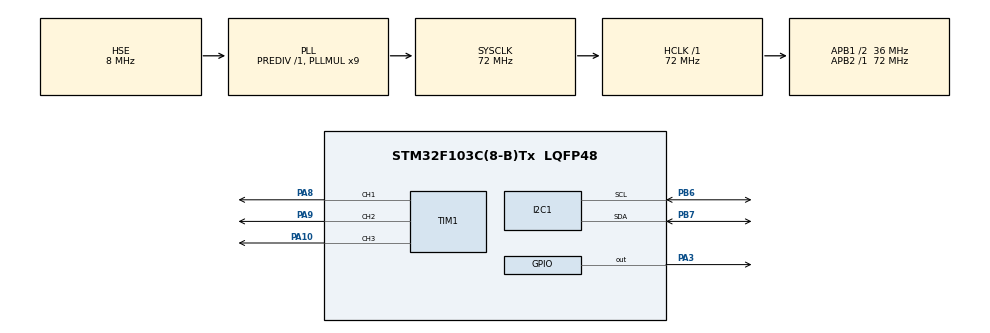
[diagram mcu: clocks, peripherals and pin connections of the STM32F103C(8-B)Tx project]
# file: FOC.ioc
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Mcu.Family=STM32F1
Mcu.Name=STM32F103C(8-B)Tx
Mcu.Package=LQFP48
NVIC.PriorityGroup=NVIC_PRIORITYGROUP_4
PA10.Signal=S_TIM1_CH3
PA13.Mode=Serial_Wire
PA13.Signal=SYS_JTMS-SWDIO
PA14.Mode=Serial_Wire
PA14.Signal=SYS_JTCK-SWCLK
PA3.GPIO_ModeDefaultOutputPP=GPIO_MODE_OUTPUT_PP
PA3.Signal=GPIO_Output
PA8.Signal=S_TIM1_CH1
PA9.Signal=S_TIM1_CH2
PB6.Mode=I2C
PB6.Signal=I2C1_SCL
PB7.Mode=I2C
PB7.Signal=I2C1_SDA
PD0-OSC_IN.Mode=HSE-External-Oscillator
PD0-OSC_IN.Signal=RCC_OSC_IN
PD1-OSC_OUT.Mode=HSE-External-Oscillator
PD1-OSC_OUT.Signal=RCC_OSC_OUT
ProjectManager.HeapSize=0x200
ProjectManager.StackSize=0x400
ProjectManager.TargetToolchain=MDK-ARM V5.32
RCC.AHBFreq_Value=72000000
RCC.APB1CLKDivider=RCC_HCLK_DIV2
RCC.APB1Freq_Value=36000000
RCC.APB1TimFreq_Value=72000000
RCC.APB2Freq_Value=72000000
RCC.APB2TimFreq_Value=72000000
RCC.HCLKFreq_Value=72000000
RCC.PLLMUL=RCC_PLL_MUL9
RCC.PLLSourceVirtual=RCC_PLLSOURCE_HSE
RCC.SYSCLKFreq_VALUE=72000000
RCC.SYSCLKSource=RCC_SYSCLKSOURCE_PLLCLK
RCC.USBFreq_Value=72000000
SH.S_TIM1_CH1.0=TIM1_CH1,Output Compare1 CH1
SH.S_TIM1_CH2.0=TIM1_CH2,Output Compare2 CH2
SH.S_TIM1_CH3.0=TIM1_CH3,Output Compare3 CH3
TIM1.Channel-Output\ Compare1\ CH1=TIM_CHANNEL_1
TIM1.Channel-Output\ Compare2\ CH2=TIM_CHANNEL_2
TIM1.Channel-Output\ Compare3\ CH3=TIM_CHANNEL_3
TIM2.CounterMode=TIM_COUNTERMODE_UP
TIM2.Period=999
TIM2.Prescaler=71
TIM2.TIM_MasterOutputTrigger=TIM_TRGO_UPDATE
TIM2.TIM_MasterSlaveMode=TIM_MASTERSLAVEMODE_ENABLE
VP_TIM2_VS_ClockSourceINT.Mode=Internal
board=custom

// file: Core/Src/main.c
/* USER CODE BEGIN Header */
/**
  ******************************************************************************
  * @file           : main.c
  * @brief          : Main program body
  ******************************************************************************
  * @attention
  *
  * Copyright (c) 2025 STMicroelectronics.
  * All rights reserved.
  *
  * This software is licensed under terms that can be found in the LICENSE file
  * in the root directory of this software component.
  * If no LICENSE file comes with this software, it is provided AS-IS.
  *
  ******************************************************************************
  */
/* USER CODE END Header */
#include "main.h"
#include "i2c.h"
#include "tim.h"
#include "gpio.h"

/* USER CODE BEGIN Includes */
#include "foc.h"
/* USER CODE END Includes */

void SystemClock_Config(void);

/* USER CODE BEGIN 0 */
FOC_OpenLoop_HandleTypeDef motor;
uint32_t last_control_time = 0;
uint32_t last_display_time = 0;

/* USER CODE END 0 */

int main(void)
{

  /* MCU Configuration--------------------------------------------------------*/

  /* Reset of all peripherals, Initializes the Flash interface and the Systick. */
  HAL_Init();

  /* Configure the system clock */
  SystemClock_Config();

  /* Initialize all configured peripherals */
  MX_GPIO_Init();
  MX_I2C1_Init();
  MX_TIM2_Init();
  MX_TIM1_Init();
  /* USER CODE BEGIN 2 */
	HAL_TIM_Base_Start(&htim1);
	HAL_TIM_Base_Start(&htim2);
  /* USER CODE END 2 */

  /* Infinite loop */
  /* USER CODE BEGIN WHILE */

  while (1)
  {
        uint32_t current_time = HAL_GetTick();
        float dt = (current_time - last_control_time) / 1000.0f; // ????

        if (dt >= 0.001f) { // 1ms????
            // ??FOC??
            FOC_OpenLoop_Update(&motor, dt);
            last_control_time = current_time;
        }

        // ?100ms??????
        if (current_time - last_display_time > 100) {
            last_display_time = current_time;

            // ????????????
            // printf("State: %d, Speed: %.1f RPM, Angle: %.2f rad\n",
            //        FOC_OpenLoop_GetState(&motor),
            //        FOC_OpenLoop_GetSpeedRPM(&motor),
            //        FOC_OpenLoop_GetElectricalAngle(&motor));
        }

        // ?????????
        static uint32_t last_speed_change = 0;
        if (current_time - last_speed_change > 3000) { // ?3???????
            last_speed_change = current_time;

            static uint8_t speed_stage = 0;
            switch (speed_stage) {
                case 0:
                    FOC_OpenLoop_SetSpeed(&motor, 800.0f);  // ???800 RPM
                    FOC_OpenLoop_SetCurrent(&motor, 0.5f);  // ????
                    break;
                case 1:
                    FOC_OpenLoop_SetSpeed(&motor, 300.0f);  // ???300 RPM
                    FOC_OpenLoop_SetCurrent(&motor, 0.2f);  // ????
                    break;
                case 2:
                    FOC_OpenLoop_SetSpeed(&motor, 1200.0f); // ???1200 RPM
                    FOC_OpenLoop_SetCurrent(&motor, 0.8f);  // ????
                    break;
                case 3:
                    FOC_OpenLoop_Stop(&motor);              // ??
                    HAL_Delay(1000);
                    FOC_OpenLoop_Start(&motor, 500.0f);     // ????
                    speed_stage = -1; // ????
                    break;
            }
            speed_stage++;
        }

        HAL_Delay(1);
    /* USER CODE END WHILE */

  }
}

void SystemClock_Config(void)
{
  RCC_OscInitTypeDef RCC_OscInitStruct = {0};
  RCC_ClkInitTypeDef RCC_ClkInitStruct = {0};

  /** Initializes the RCC Oscillators according to the specified parameters
  * in the RCC_OscInitTypeDef structure.
  */
  RCC_OscInitStruct.OscillatorType = RCC_OSCILLATORTYPE_HSE;
  RCC_OscInitStruct.HSEState = RCC_HSE_ON;
  RCC_OscInitStruct.HSEPredivValue = RCC_HSE_PREDIV_DIV1;
  RCC_OscInitStruct.HSIState = RCC_HSI_ON;
  RCC_OscInitStruct.PLL.PLLState = RCC_PLL_ON;
  RCC_OscInitStruct.PLL.PLLSource = RCC_PLLSOURCE_HSE;
  RCC_OscInitStruct.PLL.PLLMUL = RCC_PLL_MUL9;
  if (HAL_RCC_OscConfig(&RCC_OscInitStruct) != HAL_OK)
  {
    Error_Handler();
  }

  /** Initializes the CPU, AHB and APB buses clocks
  */
  RCC_ClkInitStruct.ClockType = RCC_CLOCKTYPE_HCLK|RCC_CLOCKTYPE_SYSCLK
                              |RCC_CLOCKTYPE_PCLK1|RCC_CLOCKTYPE_PCLK2;
  RCC_ClkInitStruct.SYSCLKSource = RCC_SYSCLKSOURCE_PLLCLK;
  RCC_ClkInitStruct.AHBCLKDivider = RCC_SYSCLK_DIV1;
  RCC_ClkInitStruct.APB1CLKDivider = RCC_HCLK_DIV2;
  RCC_ClkInitStruct.APB2CLKDivider = RCC_HCLK_DIV1;

  if (HAL_RCC_ClockConfig(&RCC_ClkInitStruct, FLASH_LATENCY_2) != HAL_OK)
  {
    Error_Handler();
  }
}

/* USER CODE BEGIN 4 */
void HAL_TIM_PeriodElapsedCallback(TIM_HandleTypeDef *htim)
{
    if (htim->Instance == TIM2) { // ????TIM2???????
        static uint32_t last_time = 0;
        uint32_t current_time = HAL_GetTick();
        float dt = (current_time - last_time) / 1000.0f;

        FOC_OpenLoop_Update(&motor, dt);
        last_time = current_time;
    }
}
/* USER CODE END 4 */

void Error_Handler(void)
{
  __disable_irq();
  while (1)
  {
  }
}
